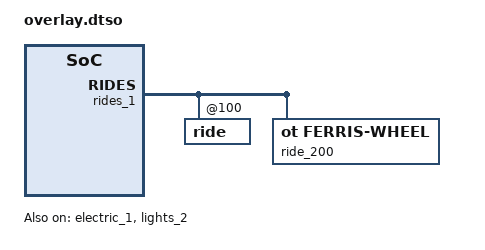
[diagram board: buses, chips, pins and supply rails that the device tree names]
// SPDX-License-Identifier: GPL-2.0
/dts-v1/;
/plugin/;

&electric_1 {
	status = "okay";

	hvac_2: hvac-large-1 {
		compatible = "ot,hvac-large";
		heat-range = <40 75>;
		cool-range = <65 80>;
	};
};

&rides_1 {

	#address-cells = <1>;
	#size-cells = <1>;
	status = "okay";

	ride@100 {
		#address-cells = <1>;
		#size-cells = <1>;

		track@30 {
			incline-up = <48 32 16>;
		};

		track@40 {
			incline-up = <47 31 15>;
		};
	};

	ride_200: ride@200 {
		#address-cells = <1>;
		#size-cells = <1>;
		compatible = "ot,ferris-wheel";
		reg = <0x00000200 0x100>;
		hvac-provider = <&hvac_2>;
		hvac-thermostat = <27 32> ;
		hvac-zones = <12 5>;
		hvac-zone-names = "operator", "snack-bar";
		spin-controller = <&spin_ctrl_1 3>;
		spin-rph = <30>;
		gondolas = <16>;
		gondola-capacity = <6>;

		ride_200_left: track@10 {
			reg = <0x00000010 0x10>;
		};

		ride_200_right: track@20 {
			reg = <0x00000020 0x10>;
		};
	};
};

&lights_2 {
	status = "okay";
	color = "purple", "white", "red", "green";
	rate = <3 256>;
};
